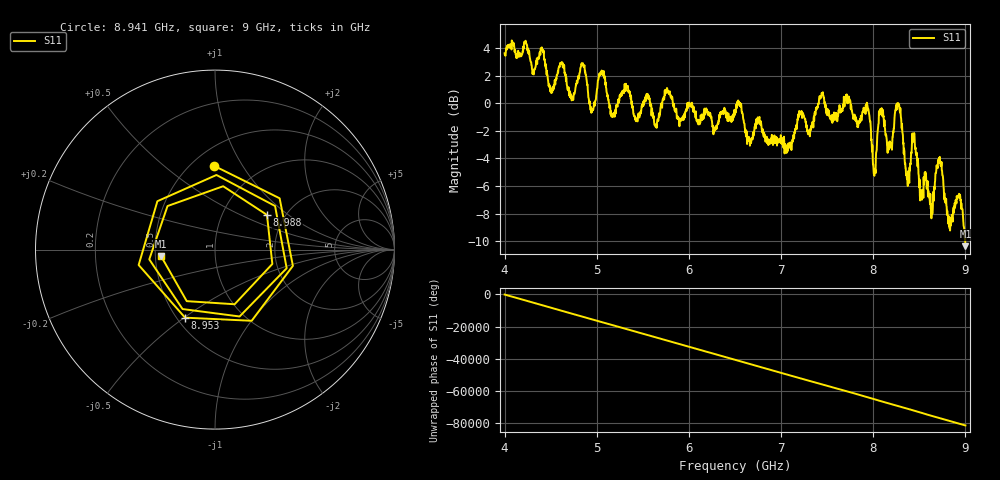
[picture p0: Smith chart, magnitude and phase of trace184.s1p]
! Created with skrf 1.8.0 (http://scikit-rf.org).
# Hz S RI R 50.0
!freq ReS11 ImS11
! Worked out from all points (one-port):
!   1601 points, 4 GHz to 9 GHz, reference 50 ohm
!   lowest |S11| = -10.4 dB at 9 GHz (marker M1), VSWR 1.87, Z = 26.8 - j2.1 ohm
!   |S11| at or under -10 dB: 8.998358 GHz to end of sweep
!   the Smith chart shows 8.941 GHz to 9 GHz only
!   S11 on the Smith chart (normalised r, x): 8.941 GHz: 0.64, +0.76; 8.953 GHz: 0.55, -0.50; 8.988 GHz: 1.62, +0.71; 9 GHz: 0.54, -0.04
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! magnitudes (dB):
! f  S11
! 4 GHz  3.6
! 4.403 GHz  4.0
! 4.512 GHz  1.0
! 4.625 GHz  2.8
! 4.734 GHz  0.4
! 4.85 GHz  2.9
! 4.944 GHz  -0.6
! 5.05 GHz  2.2
! 5.25 GHz  0.6
! 5.875 GHz  -1.1
! 6.5 GHz  -0.8
! 7.125 GHz  -2.6
! 7.438 GHz  0.6
! 7.75 GHz  0.2
! 7.944 GHz  -0.4
! 8.012 GHz  -5.3
! 8.081 GHz  -0.7
! 8.178 GHz  -3.3
! 8.272 GHz  -0.1
! 8.375 GHz  -6.0
! 8.441 GHz  -2.6
! 8.622 GHz  -7.3
! 8.716 GHz  -4.2
! 8.825 GHz  -8.7
! 8.941 GHz  -6.6
! 8.953 GHz  -7.7
! 8.988 GHz  -9.2
! 9 GHz  -10.4
